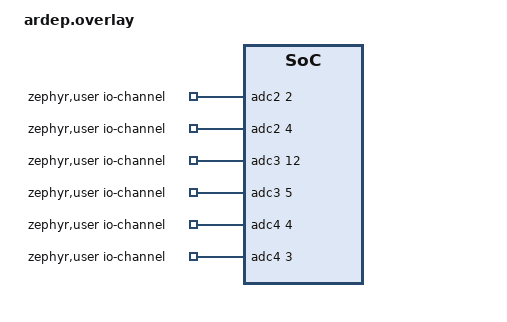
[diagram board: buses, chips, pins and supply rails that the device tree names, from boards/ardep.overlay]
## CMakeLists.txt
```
# SPDX-FileCopyrightText: Copyright (C) Frickly Systems GmbH
# SPDX-FileCopyrightText: Copyright (C) MBition GmbH
#
# SPDX-License-Identifier: Apache-2.0

cmake_minimum_required(VERSION 3.20.0)

find_package(Zephyr REQUIRED HINTS $ENV{ZEPHYR_BASE})
project(adc)

target_sources(app PRIVATE src/main.c)
```

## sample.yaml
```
# Copyright (C) Frickly Systems GmbH
# Copyright (C) MBition GmbH

sample:
  description: adc example
  name: adc-example
common:
  build_only: true
  integration_platforms:
    - nucleo_g474re
    - ardep
tests:
  example.adc.default: {}
```

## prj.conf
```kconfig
CONFIG_ADC=y
# necessary for vref sensor
CONFIG_SENSOR=y
```

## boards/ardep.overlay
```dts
/*
 * SPDX-FileCopyrightText: Copyright (C) Frickly Systems GmbH
 * SPDX-FileCopyrightText: Copyright (C) MBition GmbH
 *
 * SPDX-License-Identifier: Apache-2.0
 */

/ {
    zephyr,user {
        io-channels = <&adc2 2>,
                      <&adc2 4>,
                      <&adc3 12>,
                      <&adc3 5>,
                      <&adc4 4>,
                      <&adc4 3>;
    };
};
```

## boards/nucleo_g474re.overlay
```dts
/*
 * SPDX-FileCopyrightText: Copyright (C) Frickly Systems GmbH
 * SPDX-FileCopyrightText: Copyright (C) MBition GmbH
 *
 * SPDX-License-Identifier: Apache-2.0
 */

/ {
    zephyr,user {
        io-channels = <&adc1 1>;
    };
};

&adc1 {
    #address-cells = <1>;
    #size-cells = <0>;

    adc_channel_A0: channel@1 {
        reg = <1>;
        zephyr,gain = "ADC_GAIN_1";
        zephyr,reference = "ADC_REF_INTERNAL";
        zephyr,vref-mv = <3300>;
        zephyr,acquisition-time = <ADC_ACQ_TIME_DEFAULT>;
        zephyr,resolution = <12>;
        zephyr,oversampling = <4>;
    };
};
```

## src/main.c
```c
/*
 * SPDX-FileCopyrightText: Copyright (C) Frickly Systems GmbH
 * SPDX-FileCopyrightText: Copyright (C) MBition GmbH
 *
 * SPDX-License-Identifier: Apache-2.0
 */

/*
 * Copyright (c) 2020 Libre Solar Technologies GmbH
 *
 * Copyright (C) MBition GmbH
 *
 * SPDX-License-Identifier: Apache-2.0
 */

#include <inttypes.h>
#include <stddef.h>
#include <stdint.h>

#include <zephyr/device.h>
#include <zephyr/devicetree.h>
#include <zephyr/drivers/adc.h>
#include <zephyr/drivers/sensor.h>
#include <zephyr/kernel.h>
#include <zephyr/sys/printk.h>
#include <zephyr/sys/util.h>

#if !DT_NODE_EXISTS(DT_PATH(zephyr_user)) || \
    !DT_NODE_HAS_PROP(DT_PATH(zephyr_user), io_channels)
#error "No suitable devicetree overlay specified"
#endif

#define DT_SPEC_AND_COMMA(node_id, prop, idx) \
  ADC_DT_SPEC_GET_BY_IDX(node_id, idx),

/* Data of ADC io-channels specified in devicetree. */
static const struct adc_dt_spec adc_channels[] = {
  DT_FOREACH_PROP_ELEM(DT_PATH(zephyr_user), io_channels, DT_SPEC_AND_COMMA)};

static const struct device* vref = DEVICE_DT_GET(DT_ALIAS(volt_sensor0));

int main(void) {
  int err;
  uint32_t count = 0;
  uint16_t buf;
  struct adc_sequence sequence = {
    .buffer = &buf,
    /* buffer size in bytes, not number of samples */
    .buffer_size = sizeof(buf),
  };

  /* Configure channels individually prior to sampling. */
  for (size_t i = 0U; i < ARRAY_SIZE(adc_channels); i++) {
    if (!adc_is_ready_dt(&adc_channels[i])) {
      printk("ADC controller device %s not ready\n", adc_channels[i].dev->name);
      return 0;
    }

    err = adc_channel_setup_dt(&adc_channels[i]);
    if (err < 0) {
      printk("Could not setup channel #%d (%d)\n", i, err);
      return 0;
    }
  }

  if (!device_is_ready(vref)) {
    printk("VREF device not ready\n");
    return 0;
  }

  while (1) {
    printk("ADC reading[%u]:\n", count++);
    for (size_t i = 0U; i < ARRAY_SIZE(adc_channels); i++) {
      int32_t val_mv;

      printk("- %s, channel %d: ", adc_channels[i].dev->name,
             adc_channels[i].channel_id);

      (void)adc_sequence_init_dt(&adc_channels[i], &sequence);

      err = adc_read_dt(&adc_channels[i], &sequence);
      if (err < 0) {
        printk("Could not read (%d)\n", err);
        continue;
      }

      /*
       * If using differential mode, the 16 bit value
       * in the ADC sample buffer should be a signed 2's
       * complement value.
       */
      if (adc_channels[i].channel_cfg.differential) {
        val_mv = (int32_t)((int16_t)buf);
      } else {
        val_mv = (int32_t)buf;
      }
      printk("%" PRId32, val_mv);
      err = adc_raw_to_millivolts_dt(&adc_channels[i], &val_mv);
      /* conversion to mV may not be supported, skip if not */
      if (err < 0) {
        printk(" (value in mV not available)\n");
      } else {
        printk(" = %" PRId32 " mV\n", val_mv);
      }
    }

    struct sensor_value vref_val;
    err = sensor_sample_fetch_chan(vref, SENSOR_CHAN_VOLTAGE);
    if (err < 0) {
      printk("Could not fetch vref (%d)\n", err);
      continue;
    }
    err = sensor_channel_get(vref, SENSOR_CHAN_VOLTAGE, &vref_val);
    if (err < 0) {
      printk("Could not get vref (%d)\n", err);
      continue;
    }
    printk("VREF reading: %d.%06d V\n", vref_val.val1, vref_val.val2);
    printk("\n");

    k_sleep(K_MSEC(1000));
  }
  return 0;
}
```
